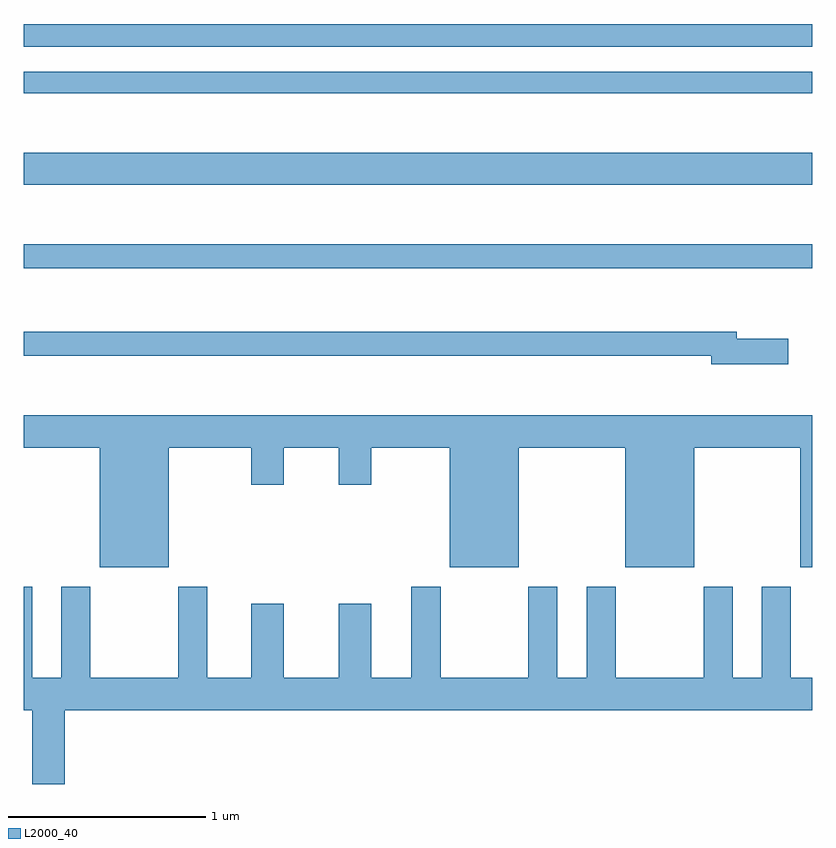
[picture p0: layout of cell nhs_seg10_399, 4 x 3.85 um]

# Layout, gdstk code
import gdstk
lib = gdstk.Library(unit=1e-6, precision=1e-09)
def R(c, l, rs):  # rectangles x0, y0, x1, y1
    for r in rs: c.add(gdstk.rectangle(r[:2], r[2:], *l))
def P(c, l, *ps):  # polygons
    for p in ps: c.add(gdstk.Polygon(p, *l))
L2000_40 = (2000, 40)

nhs_seg10_399 = lib.new_cell('nhs_seg10_399')
R(nhs_seg10_399, L2000_40, [(129,1329.198,133,1329.319), (129,1329.62,133,1329.784), (129,1330.086,133,1330.194), (129,1330.32,133,1330.436)])
P(nhs_seg10_399, L2000_40, [(132.877,1328.841),(132.616,1328.841),(132.616,1328.875),(129,1328.875),(129,1328.754),(132.488,1328.754),(132.488,1328.711),(132.877,1328.711)],
  [(129.736,1328.288),(130.154,1328.288),(130.154,1328.1),(130.318,1328.1),(130.318,1328.288),(130.598,1328.288),(130.598,1328.1),(130.762,1328.1),(130.762,1328.288),(131.162,1328.288),(131.162,1327.682),(131.512,1327.682),(131.512,1328.288),(132.05,1328.288),(132.05,1327.682),(132.4,1327.682),(132.4,1328.288),(132.938,1328.288),(132.938,1327.682),(133,1327.682),(133,1328.452),(129,1328.452),(129,1328.288),(129.386,1328.288),(129.386,1327.682),(129.736,1327.682)],
  [(129.043,1327.582),(129,1327.582),(129,1326.956),(129.044,1326.956),(129.044,1326.582),(129.208,1326.582),(129.208,1326.956),(133,1326.956),(133,1327.12),(132.891,1327.12),(132.891,1327.582),(132.743,1327.582),(132.743,1327.12),(132.595,1327.12),(132.595,1327.582),(132.448,1327.582),(132.448,1327.12),(132.003,1327.12),(132.003,1327.582),(131.855,1327.582),(131.855,1327.12),(131.707,1327.12),(131.707,1327.582),(131.56,1327.582),(131.56,1327.12),(131.115,1327.12),(131.115,1327.582),(130.967,1327.582),(130.967,1327.12),(130.762,1327.12),(130.762,1327.495),(130.598,1327.495),(130.598,1327.12),(130.318,1327.12),(130.318,1327.495),(130.154,1327.495),(130.154,1327.12),(129.931,1327.12),(129.931,1327.582),(129.784,1327.582),(129.784,1327.12),(129.339,1327.12),(129.339,1327.582),(129.191,1327.582),(129.191,1327.12),(129.043,1327.12)])

lib.write_gds('nhs_seg10_399.gds')
